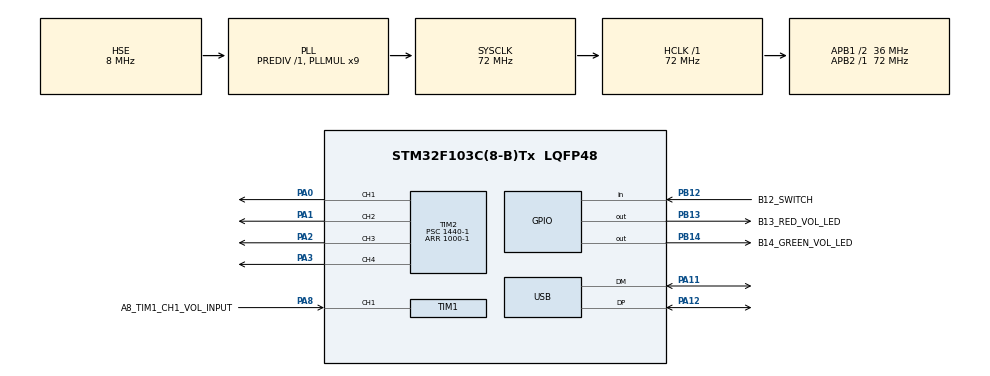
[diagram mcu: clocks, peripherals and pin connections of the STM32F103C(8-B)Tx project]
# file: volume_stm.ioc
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Mcu.Family=STM32F1
Mcu.Name=STM32F103C(8-B)Tx
Mcu.Package=LQFP48
NVIC.PriorityGroup=NVIC_PRIORITYGROUP_4
NVIC.RCC_IRQn=true\:0\:0\:false\:false\:true\:true\:false\:true
NVIC.TIM1_BRK_IRQn=true\:0\:0\:false\:false\:true\:true\:true\:true
NVIC.TIM1_CC_IRQn=true\:0\:0\:false\:false\:true\:true\:true\:true
NVIC.TIM1_TRG_COM_IRQn=true\:0\:0\:false\:false\:true\:true\:true\:true
NVIC.TIM1_UP_IRQn=true\:0\:0\:false\:false\:true\:true\:true\:true
NVIC.TIM2_IRQn=true\:0\:0\:false\:false\:true\:true\:true\:true
NVIC.USB_HP_CAN1_TX_IRQn=true\:0\:0\:false\:false\:true\:true\:true\:true
NVIC.USB_LP_CAN1_RX0_IRQn=true\:0\:0\:false\:false\:true\:true\:true\:true
PA0-WKUP.Signal=S_TIM2_CH1_ETR
PA1.Signal=S_TIM2_CH2
PA11.Mode=Device
PA11.Signal=USB_DM
PA12.Mode=Device
PA12.Signal=USB_DP
PA13.Mode=Serial_Wire
PA13.Signal=SYS_JTMS-SWDIO
PA14.Mode=Serial_Wire
PA14.Signal=SYS_JTCK-SWCLK
PA2.Signal=S_TIM2_CH3
PA3.Signal=S_TIM2_CH4
PA8.GPIO_Label=A8_TIM1_CH1_VOL_INPUT
PA8.Signal=S_TIM1_CH1
PB12.GPIO_Label=B12_SWITCH
PB12.GPIO_PuPd=GPIO_PULLUP
PB12.Signal=GPIO_Input
PB13.GPIO_Label=B13_RED_VOL_LED
PB13.Signal=GPIO_Output
PB14.GPIO_Label=B14_GREEN_VOL_LED
PB14.Signal=GPIO_Output
PD0-OSC_IN.Mode=HSE-External-Oscillator
PD0-OSC_IN.Signal=RCC_OSC_IN
PD1-OSC_OUT.Mode=HSE-External-Oscillator
PD1-OSC_OUT.Signal=RCC_OSC_OUT
ProjectManager.HeapSize=0x200
ProjectManager.StackSize=0x400
ProjectManager.TargetToolchain=STM32CubeIDE
RCC.AHBFreq_Value=72000000
RCC.APB1CLKDivider=RCC_HCLK_DIV2
RCC.APB1Freq_Value=36000000
RCC.APB1TimFreq_Value=72000000
RCC.APB2Freq_Value=72000000
RCC.APB2TimFreq_Value=72000000
RCC.HCLKFreq_Value=72000000
RCC.PLLMUL=RCC_PLL_MUL9
RCC.PLLSourceVirtual=RCC_PLLSOURCE_HSE
RCC.SYSCLKFreq_VALUE=72000000
RCC.SYSCLKSource=RCC_SYSCLKSOURCE_PLLCLK
RCC.USBFreq_Value=48000000
RCC.USBPrescaler=RCC_USBCLKSOURCE_PLL_DIV1_5
SH.S_TIM1_CH1.0=TIM1_CH1,Input_Capture1_from_TI1
SH.S_TIM2_CH1_ETR.0=TIM2_CH1,PWM Generation1 CH1
SH.S_TIM2_CH2.0=TIM2_CH2,PWM Generation2 CH2
SH.S_TIM2_CH3.0=TIM2_CH3,PWM Generation3 CH3
SH.S_TIM2_CH4.0=TIM2_CH4,PWM Generation4 CH4
TIM1.Channel-Input_Capture1_from_TI1=TIM_CHANNEL_1
TIM1.Period=65536-1
TIM1.Prescaler=0
TIM2.AutoReloadPreload=TIM_AUTORELOAD_PRELOAD_DISABLE
TIM2.Channel-PWM\ Generation1\ CH1=TIM_CHANNEL_1
TIM2.Channel-PWM\ Generation2\ CH2=TIM_CHANNEL_2
TIM2.Channel-PWM\ Generation3\ CH3=TIM_CHANNEL_3
TIM2.Channel-PWM\ Generation4\ CH4=TIM_CHANNEL_4
TIM2.Period=1000-1
TIM2.Prescaler=1440-1
USB_DEVICE.CLASS_NAME_FS=CDC
USB_DEVICE.USBD_DEBUG_LEVEL=3
USB_DEVICE.VirtualMode=Cdc
USB_DEVICE.VirtualModeFS=Cdc_FS
VP_TIM1_VS_ClockSourceINT.Mode=Internal
VP_TIM2_VS_ClockSourceINT.Mode=Internal
VP_USB_DEVICE_VS_USB_DEVICE_CDC_FS.Mode=CDC_FS
board=custom

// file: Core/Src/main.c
/* USER CODE BEGIN Header */
/**
 ******************************************************************************
 * @file           : main.c
 * @brief          : Main program body
 ******************************************************************************
 * @attention
 *
 * Copyright (c) 2022 STMicroelectronics.
 * All rights reserved.
 *
 * This software is licensed under terms that can be found in the LICENSE file
 * in the root directory of this software component.
 * If no LICENSE file comes with this software, it is provided AS-IS.
 *
 ******************************************************************************
 */
/* USER CODE END Header */
#include "main.h"
#include "usb_device.h"

/* USER CODE BEGIN PTD */

const uint32_t POS_PLAY_1 = 25;
const uint32_t POS_PLAY_2 = 28;
const uint32_t POS_PLAY_3 = 31;
const uint32_t POS_SILENCE = 40;

/* USER CODE END PTD */

/* USER CODE BEGIN PD */
#define TIMCLOCK   72000000 //This should be valid for all timers. But better check it.
#define PRESCALAR  1 // Input is 0 in Prescalar field in CubeMx

#define BOOLEAN int
#define true 1
#define false 0
/* USER CODE END PD */

TIM_HandleTypeDef htim1;
TIM_HandleTypeDef htim2;

/* USER CODE BEGIN PV */
uint32_t vol_IC_val1 = 0;
uint32_t vol_IC_val2 = 0;
uint32_t vol_period_ticks = 0;
int vol_is_first_captured = 0;

float vol_frequency = 0;
uint8_t vol_finished_one_measurement = 0;

const char *vol_timers[3] = { "HTIM_1", "HTIM_2", "WRONG" };
uint8_t vol_current_timer = 0;

const uint32_t VOL_LOWEST_FREQUENCY = 6000; //6 kHz

uint32_t vol_value = { 0 };

uint32_t current_pos = POS_SILENCE;
/* USER CODE END PV */

void SystemClock_Config(void);
static void MX_GPIO_Init(void);
static void MX_TIM2_Init(void);
static void MX_TIM1_Init(void);
/* USER CODE BEGIN PFP */
void vol_calibrate_antenna();
BOOLEAN vol_is_in_range(int lower_limit, int upper_limit, int number);
void vol_play();
void vol_play_hw(uint32_t vol_position);
/* USER CODE END PFP */

int main(void) {

	/* MCU Configuration--------------------------------------------------------*/

	/* Reset of all peripherals, Initializes the Flash interface and the Systick. */
	HAL_Init();

	/* Configure the system clock */
	SystemClock_Config();

	/* Initialize all configured peripherals */
	MX_GPIO_Init();
	MX_TIM2_Init();
	MX_TIM1_Init();
	MX_USB_DEVICE_Init();
	/* USER CODE BEGIN 2 */

	TIM1->CCR1 = 50;
	//Frequency measurement on TIM1_CHANNEL_1
	HAL_TIM_IC_Start_IT(&htim1, TIM_CHANNEL_1);

	HAL_TIM_PWM_Start(&htim2, TIM_CHANNEL_1);

	//Initialize ALL servo-motor positions to closed
	htim2.Instance->CCR1 = POS_SILENCE;
	/* USER CODE END 2 */

	/* Infinite loop */
	/* USER CODE BEGIN WHILE */
	while (1) {

		//If switch is in calibrating position, then calibrate antenna.
		/*if (HAL_GPIO_ReadPin(B12_SWITCH_GPIO_Port, B12_SWITCH_Pin)
		 == GPIO_PIN_SET) {
		 vol_calibrate_antenna();
		 }
		 //Play instrument
		 else {*/
		HAL_GPIO_WritePin(GPIOB, B14_GREEN_VOL_LED_Pin, GPIO_PIN_RESET);
		HAL_GPIO_WritePin(GPIOB, B13_RED_VOL_LED_Pin, GPIO_PIN_RESET);
		if (vol_finished_one_measurement == 1) {
			vol_play();
		}
		//}

		/* USER CODE END WHILE */

	}
}

void SystemClock_Config(void) {
	RCC_OscInitTypeDef RCC_OscInitStruct = { 0 };
	RCC_ClkInitTypeDef RCC_ClkInitStruct = { 0 };
	RCC_PeriphCLKInitTypeDef PeriphClkInit = { 0 };

	/** Initializes the RCC Oscillators according to the specified parameters
	 * in the RCC_OscInitTypeDef structure.
	 */
	RCC_OscInitStruct.OscillatorType = RCC_OSCILLATORTYPE_HSE;
	RCC_OscInitStruct.HSEState = RCC_HSE_ON;
	RCC_OscInitStruct.HSEPredivValue = RCC_HSE_PREDIV_DIV1;
	RCC_OscInitStruct.HSIState = RCC_HSI_ON;
	RCC_OscInitStruct.PLL.PLLState = RCC_PLL_ON;
	RCC_OscInitStruct.PLL.PLLSource = RCC_PLLSOURCE_HSE;
	RCC_OscInitStruct.PLL.PLLMUL = RCC_PLL_MUL9;
	if (HAL_RCC_OscConfig(&RCC_OscInitStruct) != HAL_OK) {
		Error_Handler();
	}

	/** Initializes the CPU, AHB and APB buses clocks
	 */
	RCC_ClkInitStruct.ClockType = RCC_CLOCKTYPE_HCLK | RCC_CLOCKTYPE_SYSCLK
			| RCC_CLOCKTYPE_PCLK1 | RCC_CLOCKTYPE_PCLK2;
	RCC_ClkInitStruct.SYSCLKSource = RCC_SYSCLKSOURCE_PLLCLK;
	RCC_ClkInitStruct.AHBCLKDivider = RCC_SYSCLK_DIV1;
	RCC_ClkInitStruct.APB1CLKDivider = RCC_HCLK_DIV2;
	RCC_ClkInitStruct.APB2CLKDivider = RCC_HCLK_DIV1;

	if (HAL_RCC_ClockConfig(&RCC_ClkInitStruct, FLASH_LATENCY_2) != HAL_OK) {
		Error_Handler();
	}
	PeriphClkInit.PeriphClockSelection = RCC_PERIPHCLK_USB;
	PeriphClkInit.UsbClockSelection = RCC_USBCLKSOURCE_PLL_DIV1_5;
	if (HAL_RCCEx_PeriphCLKConfig(&PeriphClkInit) != HAL_OK) {
		Error_Handler();
	}
}

static void MX_TIM1_Init(void) {

	TIM_ClockConfigTypeDef sClockSourceConfig = { 0 };
	TIM_MasterConfigTypeDef sMasterConfig = { 0 };
	TIM_IC_InitTypeDef sConfigIC = { 0 };

	htim1.Instance = TIM1;
	htim1.Init.Prescaler = 0;
	htim1.Init.CounterMode = TIM_COUNTERMODE_UP;
	htim1.Init.Period = 65536 - 1;
	htim1.Init.ClockDivision = TIM_CLOCKDIVISION_DIV1;
	htim1.Init.RepetitionCounter = 0;
	htim1.Init.AutoReloadPreload = TIM_AUTORELOAD_PRELOAD_DISABLE;
	if (HAL_TIM_Base_Init(&htim1) != HAL_OK) {
		Error_Handler();
	}
	sClockSourceConfig.ClockSource = TIM_CLOCKSOURCE_INTERNAL;
	if (HAL_TIM_ConfigClockSource(&htim1, &sClockSourceConfig) != HAL_OK) {
		Error_Handler();
	}
	if (HAL_TIM_IC_Init(&htim1) != HAL_OK) {
		Error_Handler();
	}
	sMasterConfig.MasterOutputTrigger = TIM_TRGO_RESET;
	sMasterConfig.MasterSlaveMode = TIM_MASTERSLAVEMODE_DISABLE;
	if (HAL_TIMEx_MasterConfigSynchronization(&htim1, &sMasterConfig)
			!= HAL_OK) {
		Error_Handler();
	}
	sConfigIC.ICPolarity = TIM_INPUTCHANNELPOLARITY_RISING;
	sConfigIC.ICSelection = TIM_ICSELECTION_DIRECTTI;
	sConfigIC.ICPrescaler = TIM_ICPSC_DIV1;
	sConfigIC.ICFilter = 0;
	if (HAL_TIM_IC_ConfigChannel(&htim1, &sConfigIC, TIM_CHANNEL_1) != HAL_OK) {
		Error_Handler();
	}

}

static void MX_TIM2_Init(void) {

	TIM_ClockConfigTypeDef sClockSourceConfig = { 0 };
	TIM_MasterConfigTypeDef sMasterConfig = { 0 };
	TIM_OC_InitTypeDef sConfigOC = { 0 };

	htim2.Instance = TIM2;
	htim2.Init.Prescaler = 1440 - 1;
	htim2.Init.CounterMode = TIM_COUNTERMODE_UP;
	htim2.Init.Period = 1000 - 1;
	htim2.Init.ClockDivision = TIM_CLOCKDIVISION_DIV1;
	htim2.Init.AutoReloadPreload = TIM_AUTORELOAD_PRELOAD_DISABLE;
	if (HAL_TIM_Base_Init(&htim2) != HAL_OK) {
		Error_Handler();
	}
	sClockSourceConfig.ClockSource = TIM_CLOCKSOURCE_INTERNAL;
	if (HAL_TIM_ConfigClockSource(&htim2, &sClockSourceConfig) != HAL_OK) {
		Error_Handler();
	}
	if (HAL_TIM_PWM_Init(&htim2) != HAL_OK) {
		Error_Handler();
	}
	sMasterConfig.MasterOutputTrigger = TIM_TRGO_RESET;
	sMasterConfig.MasterSlaveMode = TIM_MASTERSLAVEMODE_DISABLE;
	if (HAL_TIMEx_MasterConfigSynchronization(&htim2, &sMasterConfig)
			!= HAL_OK) {
		Error_Handler();
	}
	sConfigOC.OCMode = TIM_OCMODE_PWM1;
	sConfigOC.Pulse = 0;
	sConfigOC.OCPolarity = TIM_OCPOLARITY_HIGH;
	sConfigOC.OCFastMode = TIM_OCFAST_DISABLE;
	if (HAL_TIM_PWM_ConfigChannel(&htim2, &sConfigOC, TIM_CHANNEL_1)
			!= HAL_OK) {
		Error_Handler();
	}
	if (HAL_TIM_PWM_ConfigChannel(&htim2, &sConfigOC, TIM_CHANNEL_2)
			!= HAL_OK) {
		Error_Handler();
	}
	if (HAL_TIM_PWM_ConfigChannel(&htim2, &sConfigOC, TIM_CHANNEL_3)
			!= HAL_OK) {
		Error_Handler();
	}
	if (HAL_TIM_PWM_ConfigChannel(&htim2, &sConfigOC, TIM_CHANNEL_4)
			!= HAL_OK) {
		Error_Handler();
	}
	HAL_TIM_MspPostInit(&htim2);

}

static void MX_GPIO_Init(void) {
	GPIO_InitTypeDef GPIO_InitStruct = { 0 };

	/* GPIO Ports Clock Enable */
	__HAL_RCC_GPIOD_CLK_ENABLE();
	__HAL_RCC_GPIOA_CLK_ENABLE();
	__HAL_RCC_GPIOB_CLK_ENABLE();

	/*Configure GPIO pin Output Level */
	HAL_GPIO_WritePin(GPIOB, B13_RED_VOL_LED_Pin | B14_GREEN_VOL_LED_Pin,
			GPIO_PIN_RESET);

	/*Configure GPIO pin : B12_SWITCH_Pin */
	GPIO_InitStruct.Pin = B12_SWITCH_Pin;
	GPIO_InitStruct.Mode = GPIO_MODE_INPUT;
	GPIO_InitStruct.Pull = GPIO_PULLUP;
	HAL_GPIO_Init(B12_SWITCH_GPIO_Port, &GPIO_InitStruct);

	/*Configure GPIO pins : B13_RED_VOL_LED_Pin B14_GREEN_VOL_LED_Pin */
	GPIO_InitStruct.Pin = B13_RED_VOL_LED_Pin | B14_GREEN_VOL_LED_Pin;
	GPIO_InitStruct.Mode = GPIO_MODE_OUTPUT_PP;
	GPIO_InitStruct.Pull = GPIO_NOPULL;
	GPIO_InitStruct.Speed = GPIO_SPEED_FREQ_LOW;
	HAL_GPIO_Init(GPIOB, &GPIO_InitStruct);

}

/* USER CODE BEGIN 4 */

void vol_calibrate_antenna() {
	const uint32_t TOLERANCE = 300;
	if (is_in_range(VOL_LOWEST_FREQUENCY - TOLERANCE,
			VOL_LOWEST_FREQUENCY + TOLERANCE, vol_frequency) == true) {
		current_pos = POS_SILENCE;

		HAL_GPIO_WritePin(GPIOB, B14_GREEN_VOL_LED_Pin, GPIO_PIN_SET);
		HAL_Delay(10);
		HAL_GPIO_WritePin(GPIOB, B13_RED_VOL_LED_Pin, GPIO_PIN_RESET);
		HAL_Delay(10);

	} else {
		//Turn OFF GREEN LED, turn ON RED LED for PITCH
		HAL_GPIO_WritePin(GPIOB, B14_GREEN_VOL_LED_Pin, GPIO_PIN_RESET);
		HAL_Delay(10);
		HAL_GPIO_WritePin(GPIOB, B13_RED_VOL_LED_Pin, GPIO_PIN_SET);
		HAL_Delay(10);
	}

}
BOOLEAN is_in_range(int lower_limit, int upper_limit, int number) {
	return (lower_limit <= number && number <= upper_limit);
}
void vol_play_hw(uint32_t vol_position) {
	htim2.Instance->CCR1 = vol_position;
}
void vol_play() {
	const uint32_t STEP_SIZE = 600;
	if (is_in_range(VOL_LOWEST_FREQUENCY, VOL_LOWEST_FREQUENCY + STEP_SIZE,
			vol_frequency) == true) {
		current_pos = POS_SILENCE;
	} else if (is_in_range(VOL_LOWEST_FREQUENCY,
			VOL_LOWEST_FREQUENCY + (2 * STEP_SIZE), vol_frequency) == true) {
		current_pos = POS_PLAY_1;
	} else if (is_in_range(VOL_LOWEST_FREQUENCY,
			VOL_LOWEST_FREQUENCY + (3 * STEP_SIZE), vol_frequency) == true) {
		current_pos = POS_PLAY_2;
	} else if (is_in_range(VOL_LOWEST_FREQUENCY,
			VOL_LOWEST_FREQUENCY + (4 * STEP_SIZE), vol_frequency) == true) {
		current_pos = POS_PLAY_3;
	}
	vol_play_hw(current_pos);
}

void HAL_TIM_IC_CaptureCallback(TIM_HandleTypeDef *htim) {
	if (htim == &htim1) {
		vol_current_timer = 0;
	} else if (htim == &htim2) {
		vol_current_timer = 1;
	} else {
		vol_current_timer = 2;
	}
	if (htim->Channel == HAL_TIM_ACTIVE_CHANNEL_1) {

		if (vol_is_first_captured == 0) // if the first rising edge is not captured
				{
			vol_finished_one_measurement = 0;
			vol_IC_val1 = HAL_TIM_ReadCapturedValue(htim, TIM_CHANNEL_1); // read the first value
			vol_is_first_captured = 1;  // set the first captured as true

		}

		else // If the first rising edge is captured, now we will capture the second edge
		{
			vol_IC_val2 = HAL_TIM_ReadCapturedValue(htim, TIM_CHANNEL_1); // read second value

			if (vol_IC_val2 > vol_IC_val1) {
				vol_period_ticks = vol_IC_val2 - vol_IC_val1;
			}

			else if (vol_IC_val1 > vol_IC_val2) {
				vol_period_ticks = (0xffffffff - vol_IC_val1) + vol_IC_val2; //0xffffffff = 4 294 967 295
			}

			float refClock = TIMCLOCK / (PRESCALAR);

			vol_frequency = refClock / vol_period_ticks;

			__HAL_TIM_SET_COUNTER(htim, 0);  // reset the counter
			vol_is_first_captured = 0; // set it back to false

			vol_finished_one_measurement = 1;
		}
	}
}
/* USER CODE END 4 */

void Error_Handler(void) {
	__disable_irq();
	while (1) {
	}
}
